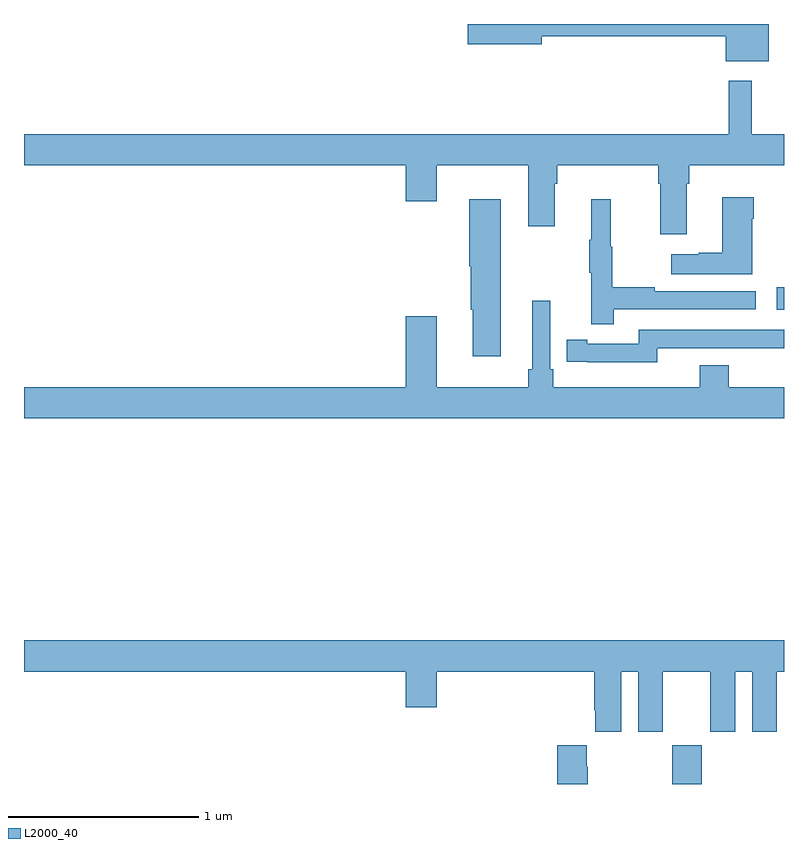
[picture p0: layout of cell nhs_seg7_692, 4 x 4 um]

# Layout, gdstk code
import gdstk
lib = gdstk.Library(unit=1e-6, precision=1e-09)
def R(c, l, rs):  # rectangles x0, y0, x1, y1
    for r in rs: c.add(gdstk.rectangle(r[:2], r[2:], *l))
def P(c, l, *ps):  # polygons
    for p in ps: c.add(gdstk.Polygon(p, *l))
L2000_40 = (2000, 40)

nhs_seg7_692 = lib.new_cell('nhs_seg7_692')
R(nhs_seg7_692, L2000_40, [(166.411,1024,166.566,1024.204), (166.962,1026.495,167,1026.615)])
P(nhs_seg7_692, L2000_40, [(166.921,1028),(165.336,1028),(165.336,1027.894),(165.724,1027.894),(165.724,1027.936),(166.694,1027.936),(166.694,1027.805),(166.921,1027.805)],
  [(166.489,1027.16),(166.502,1027.16),(166.502,1027.256),(167,1027.256),(167,1027.42),(166.831,1027.42),(166.831,1027.702),(166.71,1027.702),(166.71,1027.42),(163,1027.42),(163,1027.256),(165.008,1027.256),(165.008,1027.068),(165.172,1027.068),(165.172,1027.256),(165.653,1027.256),(165.653,1026.936),(165.793,1026.936),(165.793,1027.16),(165.806,1027.16),(165.806,1027.256),(166.337,1027.256),(166.337,1027.16),(166.349,1027.16),(166.349,1026.894),(166.489,1026.894)],
  [(166.834,1026.974),(166.842,1026.974),(166.842,1027.087),(166.676,1027.087),(166.676,1026.797),(166.55,1026.797),(166.55,1026.787),(166.407,1026.787),(166.407,1026.683),(166.834,1026.683)],
  [(166.103,1026.498),(166.852,1026.498),(166.852,1026.594),(166.319,1026.594),(166.319,1026.614),(166.096,1026.614),(166.096,1026.828),(166.088,1026.828),(166.088,1027.078),(165.986,1027.078),(165.986,1026.865),(165.975,1026.865),(165.975,1026.691),(165.986,1026.691),(165.986,1026.42),(166.103,1026.42)],
  [(165.508,1027.078),(165.344,1027.078),(165.344,1026.726),(165.35,1026.726),(165.35,1026.495),(165.362,1026.495),(165.362,1026.252),(165.508,1026.252)],
  [(167,1026.088),(166.709,1026.088),(166.709,1026.205),(166.556,1026.205),(166.556,1026.088),(165.785,1026.088),(165.785,1026.184),(165.771,1026.184),(165.771,1026.544),(165.674,1026.544),(165.674,1026.184),(165.655,1026.184),(165.655,1026.088),(165.172,1026.088),(165.172,1026.463),(165.008,1026.463),(165.008,1026.088),(163,1026.088),(163,1025.924),(167,1025.924)],
  [(166.332,1026.294),(166.792,1026.294),(166.792,1026.293),(167,1026.293),(167,1026.39),(166.236,1026.39),(166.236,1026.318),(165.964,1026.318),(165.964,1026.338),(165.856,1026.338),(165.856,1026.222),(165.964,1026.222),(165.964,1026.221),(166.332,1026.221)],
  [(163,1024.592),(165.008,1024.592),(165.008,1024.404),(165.172,1024.404),(165.172,1024.592),(166.001,1024.592),(166.001,1024.387),(166.007,1024.387),(166.007,1024.275),(166.144,1024.275),(166.144,1024.592),(166.232,1024.592),(166.232,1024.275),(166.363,1024.275),(166.363,1024.592),(166.613,1024.592),(166.613,1024.275),(166.744,1024.275),(166.744,1024.592),(166.832,1024.592),(166.832,1024.275),(166.963,1024.275),(166.963,1024.592),(167,1024.592),(167,1024.756),(163,1024.756)],
  [(165.966,1024.091),(165.961,1024.091),(165.961,1024.204),(165.806,1024.204),(165.806,1024),(165.966,1024)])

lib.write_gds('nhs_seg7_692.gds')
